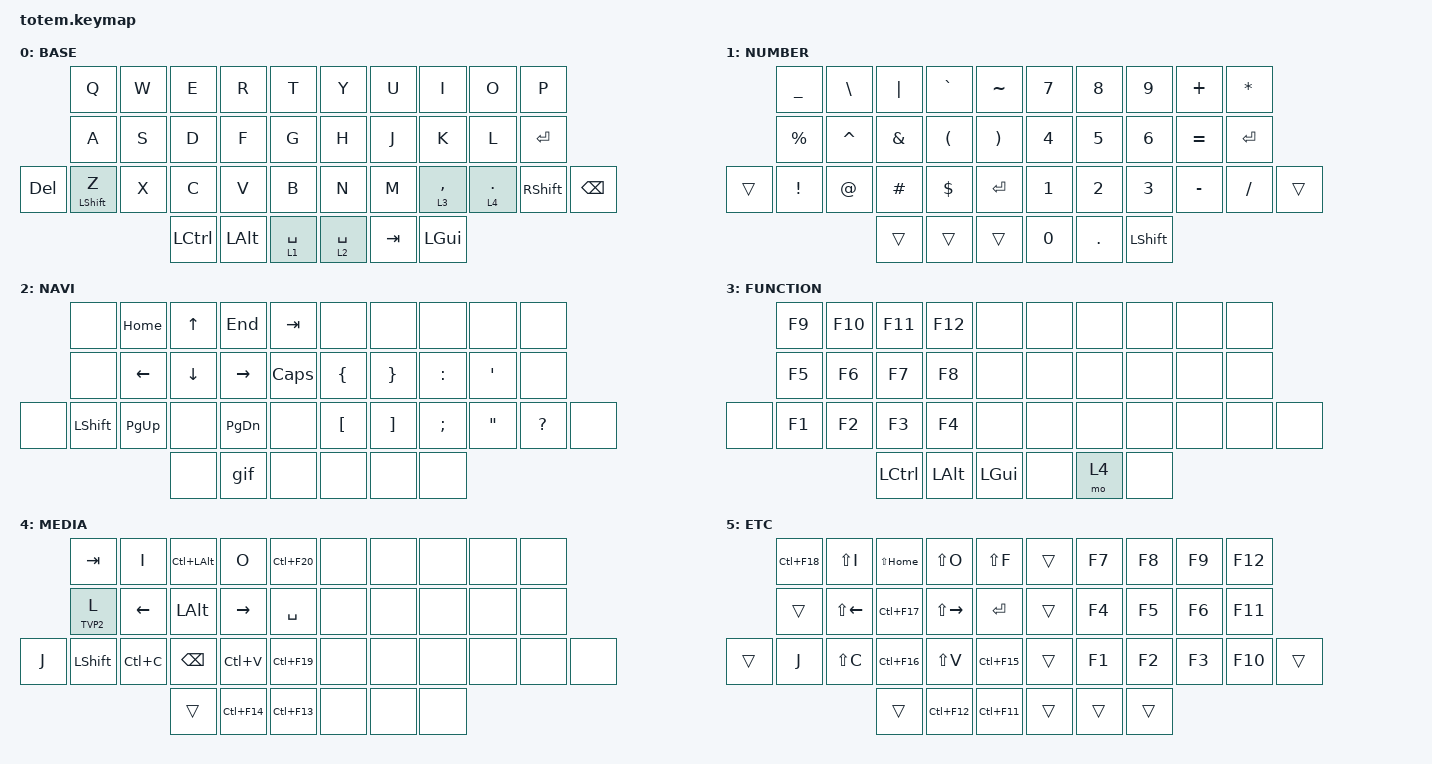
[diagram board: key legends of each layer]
//
//                                                        ▀▀▀▀▀     ▀▀▀▀▀          ▀▀█▀▀
//                                                        ▄▀▀▀▄  ▄  ▄▀▀▀▄  ▄  ▄▀▀▀▄  █  ▄▀▀▀▄
//                                                        █   █  █  █   █  █  █   █  █  █   █
//                                                         ▀▀▀   █   ▀▀▀   █   ▀▀▀   ▀   ▀▀▀
//                                                               █      ▄▄▄█▄▄▄    █   █  
//                                                               ▀      █  █  █     █▄█
//                                                             ▀▀▀▀▀    █  █  █      ▀
//                                                                      ▀  ▀  ▀
//
// ▄▄▄▄▄▄▄▄▄▄▄▄▄▄▄▄▄▄▄▄▄▄▄▄▄▄▄▄▄▄▄▄▄▄▄▄▄▄▄▄▄▄▄▄▄▄▄▄▄▄▄▄▄▄▄▄▄▄▄▄▄▄▄▄▄▄▄▄▄▄▄▄▄▄▄▄▄▄▄▄▄▄▄▄▄▄▄▄▄▄▄▄▄▄▄▄▄▄▄▄▄▄▄▄▄▄▄▄▄▄▄▄▄▄▄▄▄▄▄▄▄▄▄▄▄▄▄▄▄▄▄▄▄▄▄▄▄▄▄▄▄▄▄▄▄▄▄▄▄

#include <behaviors.dtsi>
#include <dt-bindings/zmk/keys.h>

#define BASE 0
#define NAV  1
#define SYM  2
#define ADJ  3
#define TVP1 4
#define TVP2 5

&mt {
    quick-tap-ms = <100>;
    global-quick-tap;
    flavor = "tap-preferred";
    tapping-term-ms = <170>;
};

/ {
    combos {
        compatible = "zmk,combos";

        combo_bksp {
            timeout-ms = <50>;
            key-positions = <8 7>;
            bindings = <&kp BACKSPACE>;
        };

        combos_esc {
            bindings = <&kp ESC>;
            key-positions = <1 2>;
        };
    };

    macros {
        gif: gif {
            label = "giphy";
            compatible = "zmk,behavior-macro";
            #binding-cells = <0>;
            bindings =
                <&macro_press>,
                <&kp LSHFT>,
                <&macro_tap>,
                <&kp N2>,
                <&macro_release>,
                <&kp LSHFT>,
                <&macro_tap>,
                <&kp G &kp I &kp F>;
        };
    };

    keymap {
        compatible = "zmk,keymap";

        // ▄▄▄▄▄▄▄▄▄▄▄▄▄▄▄▄▄▄▄▄▄▄▄▄▄▄▄▄▄▄▄▄▄▄▄▄▄▄▄▄▄▄▄▄▄▄▄▄▄▄▄▄▄▄▄▄▄▄▄▄▄▄▄▄▄▄▄▄▄▄▄▄▄▄▄▄▄▄▄▄▄▄▄▄▄▄▄▄▄▄▄▄▄▄▄▄▄▄▄▄▄▄▄▄▄▄▄▄▄▄▄▄▄▄▄▄▄▄▄▄▄▄▄▄▄▄▄▄▄▄▄▄▄▄▄▄▄▄▄▄▄▄▄▄▄▄▄▄▄

        base_layer {
            // ┏━━━━━━━━━━━━━━━━━━━━━━━━━━━━━━━━━━━━━━━┓

            label = "BASE";

            // ┗━━━━━━━━━━━━━━━━━━━━━━━━━━━━━━━━━━━━━━━┛
            //             ┏━━━━━━━━━━━┳━━━━━━━━━━━┳━━━━━━━━━━━┳━━━━━━━━━━━┳━━━━━━━━━━━┓   ┏━━━━━━━━━━━┳━━━━━━━━━━━┳━━━━━━━━━━━┳━━━━━━━━━━━┳━━━━━━━━━━━┓
            //             ┃     Q     ┃     W     ┃     F     ┃     P     ┃     G     ┃   ┃     J     ┃     L     ┃     U     ┃     Y     ┃     ;     ┃
            //             ┣━━━━━━━━━━━╋━━━━━━━━━━━╋━━━━━━━━━━━╋━━━━━━━━━━━╋━━━━━━━━━━━┫   ┣━━━━━━━━━━━╋━━━━━━━━━━━╋━━━━━━━━━━━╋━━━━━━━━━━━╋━━━━━━━━━━━┫
            //             ┃     A     ┃     R     ┃     S     ┃     T     ┃     D     ┃   ┃     H     ┃     N     ┃     E     ┃     I     ┃     O     ┃
            // ┏━━━━━━━━━━━╋━━━━━━━━━━━╋━━━━━━━━━━━╋━━━━━━━━━━━╋━━━━━━━━━━━╋━━━━━━━━━━━┫   ┣━━━━━━━━━━━╋━━━━━━━━━━━╋━━━━━━━━━━━╋━━━━━━━━━━━╋━━━━━━━━━━━╋━━━━━━━━━━━┓
            // ┃     Q     ┃     Z     ┃     X     ┃     C     ┃     V     ┃     B     ┃   ┃     K     ┃     M     ┃     ,     ┃     .     ┃     /     ┃     \     ┃
            // ┗━━━━━━━━━━━┻━━━━━━━━━━━┻━━━━━━━━━━━╋━━━━━━━━━━━╋━━━━━━━━━━━╋━━━━━━━━━━━┫   ┣━━━━━━━━━━━╋━━━━━━━━━━━╋━━━━━━━━━━━╋━━━━━━━━━━━┻━━━━━━━━━━━┻━━━━━━━━━━━┛
            //                                     ┃    DEL    ┃    TAB    ┃    SPC    ┃   ┃   ENTER   ┃           ┃   BSPC    ┃
            //                                     ┗━━━━━━━━━━━┻━━━━━━━━━━━┻━━━━━━━━━━━┛   ┗━━━━━━━━━━━┻━━━━━━━━━━━┻━━━━━━━━━━━┛

            bindings = <
            &kp Q             &kp W  &kp E             &kp R         &kp T          &kp Y        &kp U    &kp I         &kp O         &kp P
            &kp A             &kp S  &kp D             &kp F         &kp G          &kp H        &kp J    &kp K         &kp L         &kp ENTER
&kp DELETE  &mt LEFT_SHIFT Z  &kp X  &kp C             &kp V         &kp B          &kp N        &kp M    &lt 3 COMMA   &lt 4 PERIOD  &kp RIGHT_SHIFT  &kp BACKSPACE
                                     &kp LEFT_CONTROL  &kp LEFT_ALT  &lt 1 SPACE    &lt 2 SPACE  &kp TAB  &kp LEFT_GUI
            >;
        };

        // ▄▄▄▄▄▄▄▄▄▄▄▄▄▄▄▄▄▄▄▄▄▄▄▄▄▄▄▄▄▄▄▄▄▄▄▄▄▄▄▄▄▄▄▄▄▄▄▄▄▄▄▄▄▄▄▄▄▄▄▄▄▄▄▄▄▄▄▄▄▄▄▄▄▄▄▄▄▄▄▄▄▄▄▄▄▄▄▄▄▄▄▄▄▄▄▄▄▄▄▄▄▄▄▄▄▄▄▄▄▄▄▄▄▄▄▄▄▄▄▄▄▄▄▄▄▄▄▄▄▄▄▄▄▄▄▄▄▄▄▄▄▄▄▄▄▄▄▄▄

        num_layer {
            // ┏━━━━━━━━━━━━━━━━━━━━━━━━━━━━━━━━━━━━━━━┓

            label = "NUMBER";

            // ┗━━━━━━━━━━━━━━━━━━━━━━━━━━━━━━━━━━━━━━━┛
            //             ┏━━━━━━━━━━━┳━━━━━━━━━━━┳━━━━━━━━━━━┳━━━━━━━━━━━┳━━━━━━━━━━━┓   ┏━━━━━━━━━━━┳━━━━━━━━━━━┳━━━━━━━━━━━┳━━━━━━━━━━━┳━━━━━━━━━━━┓
            //             ┃           ┃           ┃     UP    ┃           ┃     {     ┃   ┃     }     ┃     7     ┃     8     ┃     9     ┃     +     ┃
            //             ┣━━━━━━━━━━━╋━━━━━━━━━━━╋━━━━━━━━━━━╋━━━━━━━━━━━╋━━━━━━━━━━━┫   ┣━━━━━━━━━━━╋━━━━━━━━━━━╋━━━━━━━━━━━╋━━━━━━━━━━━╋━━━━━━━━━━━┫
            //             ┃   SHIFT   ┃   LEFT    ┃    DOWN   ┃   RIGHT   ┃     [     ┃   ┃     ]     ┃     4     ┃     5     ┃     6     ┃     -     ┃
            // ┏━━━━━━━━━━━╋━━━━━━━━━━━╋━━━━━━━━━━━╋━━━━━━━━━━━╋━━━━━━━━━━━╋━━━━━━━━━━━┫   ┣━━━━━━━━━━━╋━━━━━━━━━━━╋━━━━━━━━━━━╋━━━━━━━━━━━╋━━━━━━━━━━━╋━━━━━━━━━━━┓
            // ┃           ┃           ┃   P UP    ┃  C LOCK   ┃  P DOWN   ┃     (     ┃   ┃     )     ┃     1     ┃     2     ┃     3     ┃     *     ┃           ┃
            // ┗━━━━━━━━━━━┻━━━━━━━━━━━┻━━━━━━━━━━━╋━━━━━━━━━━━╋━━━━━━━━━━━╋━━━━━━━━━━━┫   ┣━━━━━━━━━━━╋━━━━━━━━━━━╋━━━━━━━━━━━╋━━━━━━━━━━━┻━━━━━━━━━━━┻━━━━━━━━━━━┛
            //                                     ┃           ┃    TAB    ┃    SPC    ┃   ┃    DEL    ┃     0     ┃           ┃
            //                                     ┗━━━━━━━━━━━┻━━━━━━━━━━━┻━━━━━━━━━━━┛   ┗━━━━━━━━━━━┻━━━━━━━━━━━┻━━━━━━━━━━━┛

            bindings = <
        &kp UNDER  &kp BACKSLASH  &kp PIPE  &kp GRAVE  &kp TILDE                &kp N7  &kp N8      &kp N9          &kp PLUS   &kp ASTERISK
        &kp PRCNT  &kp CARET      &kp AMPS  &kp LPAR   &kp RIGHT_PARENTHESIS    &kp N4  &kp N5      &kp N6          &kp EQUAL  &kp ENTER
&trans  &kp EXCL   &kp AT         &kp HASH  &kp DLLR   &kp ENTER                &kp N1  &kp N2      &kp N3          &kp MINUS  &kp SLASH     &trans
                                  &trans    &trans     &trans                   &kp N0  &kp PERIOD  &kp LEFT_SHIFT
            >;
        };

        // ▄▄▄▄▄▄▄▄▄▄▄▄▄▄▄▄▄▄▄▄▄▄▄▄▄▄▄▄▄▄▄▄▄▄▄▄▄▄▄▄▄▄▄▄▄▄▄▄▄▄▄▄▄▄▄▄▄▄▄▄▄▄▄▄▄▄▄▄▄▄▄▄▄▄▄▄▄▄▄▄▄▄▄▄▄▄▄▄▄▄▄▄▄▄▄▄▄▄▄▄▄▄▄▄▄▄▄▄▄▄▄▄▄▄▄▄▄▄▄▄▄▄▄▄▄▄▄▄▄▄▄▄▄▄▄▄▄▄▄▄▄▄▄▄▄▄▄▄▄

        nav_layer {
            // ┏━━━━━━━━━━━━━━━━━━━━━━━━━━━━━━━━━━━━━━━┓

            label = "NAVI";

            // ┗━━━━━━━━━━━━━━━━━━━━━━━━━━━━━━━━━━━━━━━┛
            //             ┏━━━━━━━━━━━┳━━━━━━━━━━━┳━━━━━━━━━━━┳━━━━━━━━━━━┳━━━━━━━━━━━┓   ┏━━━━━━━━━━━┳━━━━━━━━━━━┳━━━━━━━━━━━┳━━━━━━━━━━━┳━━━━━━━━━━━┓
            //             ┃     !     ┃     @     ┃     #     ┃     $     ┃     %     ┃   ┃     ˆ     ┃     &     ┃     Ü     ┃     '     ┃     "     ┃
            //             ┣━━━━━━━━━━━╋━━━━━━━━━━━╋━━━━━━━━━━━╋━━━━━━━━━━━╋━━━━━━━━━━━┫   ┣━━━━━━━━━━━╋━━━━━━━━━━━╋━━━━━━━━━━━╋━━━━━━━━━━━╋━━━━━━━━━━━┫
            //             ┃     Ä     ┃           ┃    SZ     ┃           ┃           ┃   ┃   MUTE    ┃   YEN     ┃   EURO    ┃  POUND    ┃     Ö     ┃
            // ┏━━━━━━━━━━━╋━━━━━━━━━━━╋━━━━━━━━━━━╋━━━━━━━━━━━╋━━━━━━━━━━━╋━━━━━━━━━━━┫   ┣━━━━━━━━━━━╋━━━━━━━━━━━╋━━━━━━━━━━━╋━━━━━━━━━━━╋━━━━━━━━━━━╋━━━━━━━━━━━┓
            // ┃           ┃  EMAIL1   ┃  EMAIL2   ┃           ┃           ┃           ┃   ┃   VOL-    ┃   VOL+    ┃   LAST    ┃   NEXT    ┃     \     ┃           ┃
            // ┗━━━━━━━━━━━┻━━━━━━━━━━━┻━━━━━━━━━━━╋━━━━━━━━━━━╋━━━━━━━━━━━╋━━━━━━━━━━━┫   ┣━━━━━━━━━━━╋━━━━━━━━━━━╋━━━━━━━━━━━╋━━━━━━━━━━━┻━━━━━━━━━━━┻━━━━━━━━━━━┛
            //                                     ┃           ┃    GIF    ┃    ADJ    ┃   ┃           ┃           ┃           ┃
            //                                     ┗━━━━━━━━━━━┻━━━━━━━━━━━┻━━━━━━━━━━━┛   ┗━━━━━━━━━━━┻━━━━━━━━━━━┻━━━━━━━━━━━┛

            bindings = <
       &none           &kp HOME     &kp UP    &kp END        &kp TAB         &none             &none              &none          &none              &none
       &none           &kp LEFT     &kp DOWN  &kp RIGHT      &kp CAPSLOCK    &kp LBRC          &kp RIGHT_BRACE    &kp COLON      &kp SINGLE_QUOTE   &none
&none  &kp LEFT_SHIFT  &kp PAGE_UP  &none     &kp PAGE_DOWN  &none           &kp LEFT_BRACKET  &kp RIGHT_BRACKET  &kp SEMICOLON  &kp DOUBLE_QUOTES  &kp QUESTION  &none
                                    &none     &gif           &none           &none             &none              &none
            >;
        };

        // ▄▄▄▄▄▄▄▄▄▄▄▄▄▄▄▄▄▄▄▄▄▄▄▄▄▄▄▄▄▄▄▄▄▄▄▄▄▄▄▄▄▄▄▄▄▄▄▄▄▄▄▄▄▄▄▄▄▄▄▄▄▄▄▄▄▄▄▄▄▄▄▄▄▄▄▄▄▄▄▄▄▄▄▄▄▄▄▄▄▄▄▄▄▄▄▄▄▄▄▄▄▄▄▄▄▄▄▄▄▄▄▄▄▄▄▄▄▄▄▄▄▄▄▄▄▄▄▄▄▄▄▄▄▄▄▄▄▄▄▄▄▄▄▄▄▄▄▄▄

        func_layer {
            // ┏━━━━━━━━━━━━━━━━━━━━━━━━━━━━━━━━━━━━━━━┓

            label = "FUNCTION";

            // ┗━━━━━━━━━━━━━━━━━━━━━━━━━━━━━━━━━━━━━━━┛
            //             ┏━━━━━━━━━━━┳━━━━━━━━━━━┳━━━━━━━━━━━┳━━━━━━━━━━━┳━━━━━━━━━━━┓   ┏━━━━━━━━━━━┳━━━━━━━━━━━┳━━━━━━━━━━━┳━━━━━━━━━━━┳━━━━━━━━━━━┓
            //             ┃   RESET   ┃ BT CLEAR  ┃  OUT TOG  ┃           ┃           ┃   ┃           ┃    F7     ┃    F8     ┃    F9     ┃    F12    ┃
            //             ┣━━━━━━━━━━━╋━━━━━━━━━━━╋━━━━━━━━━━━╋━━━━━━━━━━━╋━━━━━━━━━━━┫   ┣━━━━━━━━━━━╋━━━━━━━━━━━╋━━━━━━━━━━━╋━━━━━━━━━━━╋━━━━━━━━━━━┫
            //             ┃ BOOTLOAD  ┃ BT NEXT   ┃           ┃           ┃           ┃   ┃           ┃    F4     ┃    F5     ┃    F6     ┃    F11    ┃
            // ┏━━━━━━━━━━━╋━━━━━━━━━━━╋━━━━━━━━━━━╋━━━━━━━━━━━╋━━━━━━━━━━━╋━━━━━━━━━━━┫   ┣━━━━━━━━━━━╋━━━━━━━━━━━╋━━━━━━━━━━━╋━━━━━━━━━━━╋━━━━━━━━━━━╋━━━━━━━━━━━┓
            // ┃           ┃           ┃ BT PREV   ┃           ┃           ┃           ┃   ┃           ┃    F1     ┃    F2     ┃    F3     ┃    F10    ┃           ┃
            // ┗━━━━━━━━━━━┻━━━━━━━━━━━┻━━━━━━━━━━━╋━━━━━━━━━━━╋━━━━━━━━━━━╋━━━━━━━━━━━┫   ┣━━━━━━━━━━━╋━━━━━━━━━━━╋━━━━━━━━━━━╋━━━━━━━━━━━┻━━━━━━━━━━━┻━━━━━━━━━━━┛
            //                                     ┃           ┃           ┃           ┃   ┃           ┃           ┃           ┃
            //                                     ┗━━━━━━━━━━━┻━━━━━━━━━━━┻━━━━━━━━━━━┛   ┗━━━━━━━━━━━┻━━━━━━━━━━━┻━━━━━━━━━━━┛

            bindings = <
       &kp F9  &kp F10  &kp F11           &kp F12       &none           &none  &none  &none  &none  &none
       &kp F5  &kp F6   &kp F7            &kp F8        &none           &none  &none  &none  &none  &none
&none  &kp F1  &kp F2   &kp F3            &kp F4        &none           &none  &none  &none  &none  &none  &none
                        &kp LEFT_CONTROL  &kp LEFT_ALT  &kp LEFT_GUI    &none  &mo 4  &none
            >;
        };

        // ▄▄▄▄▄▄▄▄▄▄▄▄▄▄▄▄▄▄▄▄▄▄▄▄▄▄▄▄▄▄▄▄▄▄▄▄▄▄▄▄▄▄▄▄▄▄▄▄▄▄▄▄▄▄▄▄▄▄▄▄▄▄▄▄▄▄▄▄▄▄▄▄▄▄▄▄▄▄▄▄▄▄▄▄▄▄▄▄▄▄▄▄▄▄▄▄▄▄▄▄▄▄▄▄▄▄▄▄▄▄▄▄▄▄▄▄▄▄▄▄▄▄▄▄▄▄▄▄▄▄▄▄▄▄▄▄▄▄▄▄▄▄▄▄▄▄▄▄▄

        med_layer {
            // ┏━━━━━━━━━━━━━━━━━━━━━━━━━━━━━━━━━━━━━━━┓

            label = "MEDIA";

            // ┗━━━━━━━━━━━━━━━━━━━━━━━━━━━━━━━━━━━━━━━┛
            //             ┏━━━━━━━━━━━┳━━━━━━━━━━━┳━━━━━━━━━━━┳━━━━━━━━━━━┳━━━━━━━━━━━┓   ┏━━━━━━━━━━━┳━━━━━━━━━━━┳━━━━━━━━━━━┳━━━━━━━━━━━┳━━━━━━━━━━━┓
            //             ┃ NEXT FILE ┃ MARK IN   ┃ ROTATE    ┃ MARK OUT  ┃ SHOW SNAP ┃   ┃           ┃           ┃           ┃           ┃           ┃
            //             ┣━━━━━━━━━━━╋━━━━━━━━━━━╋━━━━━━━━━━━╋━━━━━━━━━━━╋━━━━━━━━━━━┫   ┣━━━━━━━━━━━╋━━━━━━━━━━━╋━━━━━━━━━━━╋━━━━━━━━━━━╋━━━━━━━━━━━┫
            //             ┃ TVP II    ┃ LEFT      ┃ PAN       ┃ RIGHT     ┃ PLAY/FLIP ┃   ┃           ┃           ┃           ┃           ┃           ┃
            // ┏━━━━━━━━━━━╋━━━━━━━━━━━╋━━━━━━━━━━━╋━━━━━━━━━━━╋━━━━━━━━━━━╋━━━━━━━━━━━┫   ┣━━━━━━━━━━━╋━━━━━━━━━━━╋━━━━━━━━━━━╋━━━━━━━━━━━╋━━━━━━━━━━━╋━━━━━━━━━━━┓
            // ┃ FULLSCR   ┃ SHIFT     ┃ COPY      ┃ DELETE    ┃ PASTE     ┃ IMG MARK  ┃   ┃           ┃           ┃           ┃           ┃           ┃           ┃
            // ┗━━━━━━━━━━━┻━━━━━━━━━━━┻━━━━━━━━━━━╋━━━━━━━━━━━╋━━━━━━━━━━━╋━━━━━━━━━━━┫   ┣━━━━━━━━━━━╋━━━━━━━━━━━╋━━━━━━━━━━━╋━━━━━━━━━━━┻━━━━━━━━━━━┻━━━━━━━━━━━┛
            //                                     ┃           ┃ UNDO/SAVE ┃  SEL/MOV  ┃   ┃           ┃           ┃           ┃
            //                                     ┗━━━━━━━━━━━┻━━━━━━━━━━━┻━━━━━━━━━━━┛   ┗━━━━━━━━━━━┻━━━━━━━━━━━┻━━━━━━━━━━━┛

            bindings = <
       &kp TAB     &kp I      &kp LC(LALT)  &kp O        &kp LC(F20)    &none  &none  &none  &none  &none
       &lt TVP2 L  &kp LEFT   &kp LALT      &kp RIGHT    &kp SPACE      &none  &none  &none  &none  &none
&kp J  &kp LSHFT   &kp LC(C)  &kp BSPC      &kp LC(V)    &kp LC(F19)    &none  &none  &none  &none  &none  &none
                              &trans        &kp LC(F14)  &kp LC(F13)    &none  &none  &none
            >;
        };

        // ▄▄▄▄▄▄▄▄▄▄▄▄▄▄▄▄▄▄▄▄▄▄▄▄▄▄▄▄▄▄▄▄▄▄▄▄▄▄▄▄▄▄▄▄▄▄▄▄▄▄▄▄▄▄▄▄▄▄▄▄▄▄▄▄▄▄▄▄▄▄▄▄▄▄▄▄▄▄▄▄▄▄▄▄▄▄▄▄▄▄▄▄▄▄▄▄▄▄▄▄▄▄▄▄▄▄▄▄▄▄▄▄▄▄▄▄▄▄▄▄▄▄▄▄▄▄▄▄▄▄▄▄▄▄▄▄▄▄▄▄▄▄▄▄▄▄▄▄▄

        etc_layer {
            // ┏━━━━━━━━━━━━━━━━━━━━━━━━━━━━━━━━━━━━━━━┓

            label = "ETC";

            // ┗━━━━━━━━━━━━━━━━━━━━━━━━━━━━━━━━━━━━━━━┛
            //             ┏━━━━━━━━━━━┳━━━━━━━━━━━┳━━━━━━━━━━━┳━━━━━━━━━━━┳━━━━━━━━━━━┓   ┏━━━━━━━━━━━┳━━━━━━━━━━━┳━━━━━━━━━━━┳━━━━━━━━━━━┳━━━━━━━━━━━┓
            //             ┃ SOLO      ┃ TOGGLE IN ┃ RESET ROT ┃ TOGGLE OUT┃ TAKE SNAP ┃   ┃           ┃           ┃           ┃           ┃           ┃
            //             ┣━━━━━━━━━━━╋━━━━━━━━━━━╋━━━━━━━━━━━╋━━━━━━━━━━━╋━━━━━━━━━━━┫   ┣━━━━━━━━━━━╋━━━━━━━━━━━╋━━━━━━━━━━━╋━━━━━━━━━━━╋━━━━━━━━━━━┫
            //             ┃ ---       ┃ LAST KEY  ┃ NEW KEY   ┃ NEXT KEY  ┃ ENTER     ┃   ┃           ┃           ┃           ┃           ┃           ┃
            // ┏━━━━━━━━━━━╋━━━━━━━━━━━╋━━━━━━━━━━━╋━━━━━━━━━━━╋━━━━━━━━━━━╋━━━━━━━━━━━┫   ┣━━━━━━━━━━━╋━━━━━━━━━━━╋━━━━━━━━━━━╋━━━━━━━━━━━╋━━━━━━━━━━━╋━━━━━━━━━━━┓
            // ┃           ┃ FULLSCR   ┃ CPY2BRUSH ┃ DEL HEAD  ┃ PSTinPLACE┃ BOOK MARK ┃   ┃           ┃           ┃           ┃           ┃           ┃           ┃
            // ┗━━━━━━━━━━━┻━━━━━━━━━━━┻━━━━━━━━━━━╋━━━━━━━━━━━╋━━━━━━━━━━━╋━━━━━━━━━━━┫   ┣━━━━━━━━━━━╋━━━━━━━━━━━╋━━━━━━━━━━━╋━━━━━━━━━━━┻━━━━━━━━━━━┻━━━━━━━━━━━┛
            //                                     ┃           ┃ REDO/SAV1 ┃TRANS/WARP ┃   ┃           ┃           ┃           ┃
            //                                     ┗━━━━━━━━━━━┻━━━━━━━━━━━┻━━━━━━━━━━━┛   ┗━━━━━━━━━━━┻━━━━━━━━━━━┻━━━━━━━━━━━┛

            bindings = <
        &kp LC(F18)  &kp LS(I)     &kp LS(HOME)  &kp LS(O)      &kp LS(F)      &trans  &kp F7  &kp F8  &kp F9  &kp F12
        &trans       &kp LS(LEFT)  &kp LC(F17)   &kp LS(RIGHT)  &kp RET        &trans  &kp F4  &kp F5  &kp F6  &kp F11
&trans  &kp J        &kp LS(C)     &kp LC(F16)   &kp LS(V)      &kp LC(F15)    &trans  &kp F1  &kp F2  &kp F3  &kp F10  &trans
                                   &trans        &kp LC(F12)    &kp LC(F11)    &trans  &trans  &trans
            >;
        };
    };
};
